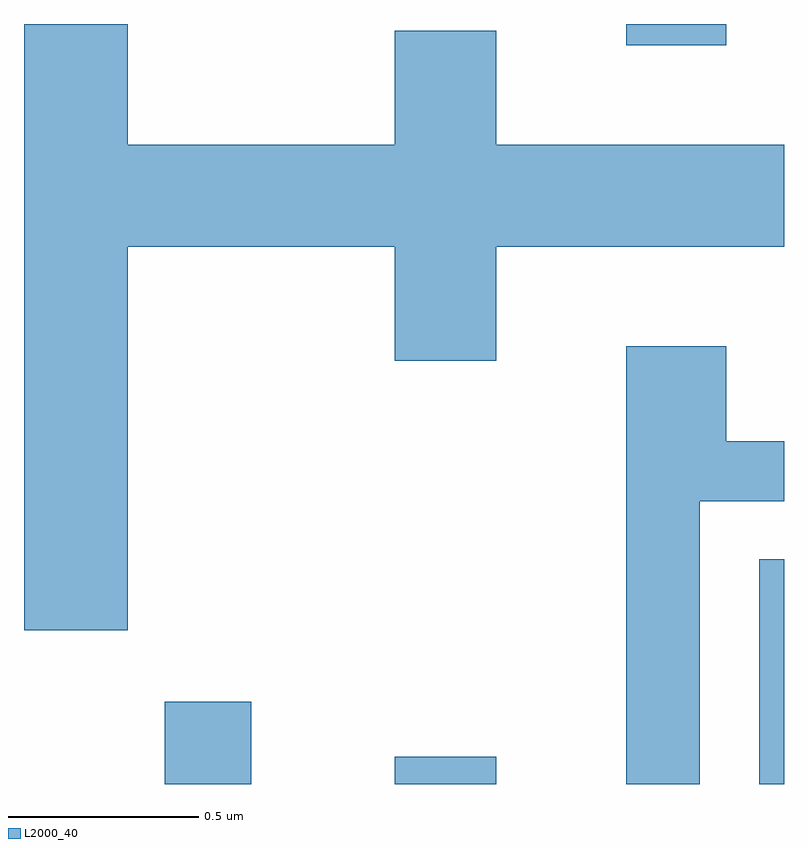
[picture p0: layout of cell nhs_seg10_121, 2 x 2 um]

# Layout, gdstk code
import gdstk
lib = gdstk.Library(unit=1e-6, precision=1e-09)
def R(c, l, rs):  # rectangles x0, y0, x1, y1
    for r in rs: c.add(gdstk.rectangle(r[:2], r[2:], *l))
def P(c, l, *ps):  # polygons
    for p in ps: c.add(gdstk.Polygon(p, *l))
L2000_40 = (2000, 40)

nhs_seg10_121 = lib.new_cell('nhs_seg10_121')
R(nhs_seg10_121, L2000_40, [(185.981,2203.522,186.209,2203.739), (186.586,2203.522,186.854,2203.594), (187.546,2203.522,187.611,2204.114), (187.196,2205.466,187.459,2205.522)])
P(nhs_seg10_121, L2000_40, [(185.884,2204.936),(186.586,2204.936),(186.586,2204.636),(186.854,2204.636),(186.854,2204.936),(187.611,2204.936),(187.611,2205.204),(186.854,2205.204),(186.854,2205.504),(186.586,2205.504),(186.586,2205.204),(185.884,2205.204),(185.884,2205.522),(185.611,2205.522),(185.611,2203.926),(185.884,2203.926)],
  [(187.389,2204.266),(187.611,2204.266),(187.611,2204.424),(187.459,2204.424),(187.459,2204.674),(187.196,2204.674),(187.196,2203.522),(187.389,2203.522)])

lib.write_gds('nhs_seg10_121.gds')
